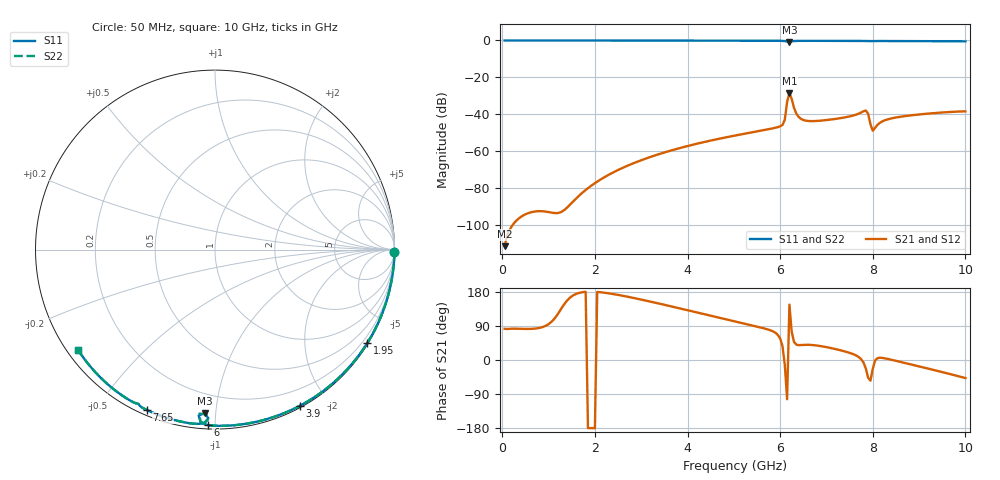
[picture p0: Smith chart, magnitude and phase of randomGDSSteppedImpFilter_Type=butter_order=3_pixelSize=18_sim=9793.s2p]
! freq	dB(S11)	phase(S11)	dB(S12)	phase(S12)
!  dB(S21)	phase(S21)	dB(S22)	phase(S22)
!S-par simulation data
#  GHz  S  DB  R 50
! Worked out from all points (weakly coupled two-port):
!   200 points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, 50 MHz to 10 GHz, reference 50 ohm
!   highest |S21| = -28.53 dB at 6.2 GHz (marker M1); lowest = -111.8 dB at 50 MHz (marker M2)
!   lowest |S11| = -0.8 dB at 6.2 GHz (marker M3), VSWR 21.87, Z = 4.29 - j46.7 ohm
!   |S11| at or under -10 dB: nowhere
!   |S22| runs from -0.7 to 0.0 dB; largest |S21 - S12| = 0
!   S11 on the Smith chart (normalised r, x): 50 MHz: open; 1.95 GHz: 0.03, -3.53; 3.9 GHz: 0.02, -1.68; 6 GHz: 0.02, -0.96; 7.65 GHz: 0.02, -0.66; 10 GHz: 0.03, -0.33
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0.05  -0.00 -0.8  -111.76 82.4  -111.76 82.4  -0.00 -0.8
1.75  -0.04 -28.5  -82.28 179.3  -82.28 179.3  -0.04 -28.5
1.95  -0.04 -31.6  -78.38 -179.7  -78.38 -179.7  -0.04 -31.6
2.55  -0.05 -41.1  -69.77 170.7  -69.77 170.7  -0.05 -41.1
3.4  -0.07 -54.1  -61.63 148.5  -61.63 148.5  -0.07 -54.1
3.9  -0.08 -61.6  -58.01 134.3  -58.01 134.3  -0.08 -61.6
5.05  -0.12 -78.3  -51.55 101.1  -51.55 101.1  -0.12 -78.3
6  -0.20 -92.4  -46.65 56.9  -46.65 56.9  -0.20 -92.5
6.05  -0.23 -93.5  -45.94 36.7  -45.94 36.7  -0.24 -93.5
6.1  -0.32 -94.8  -43.07 -12.3  -43.07 -12.3  -0.35 -94.9
6.15  -0.64 -95.6  -33.40 -103.5  -33.40 -103.5  -0.74 -95.4
6.2  -0.80 -93.6  -28.53 146.0  -28.53 146.0  -0.73 -92.8
6.3  -0.31 -93.4  -36.68 47.5  -36.68 47.5  -0.29 -93.5
6.4  -0.21 -95.5  -41.57 39.2  -41.57 39.2  -0.21 -95.6
6.7  -0.20 -100.2  -43.81 39.4  -43.81 39.4  -0.20 -100.2
7.65  -0.25 -113.0  -40.22 11.3  -40.22 11.3  -0.25 -113.1
7.85  -0.31 -115.9  -38.06 -22.5  -38.06 -22.5  -0.31 -115.9
7.9  -0.35 -116.3  -39.84 -46.8  -39.84 -46.8  -0.35 -116.4
8  -0.33 -117.3  -49.06 -23.3  -49.06 -23.3  -0.33 -117.3
8.15  -0.31 -119.2  -44.79 6.0  -44.79 6.0  -0.31 -119.3
8.35  -0.32 -121.9  -42.67 2.1  -42.67 2.1  -0.32 -121.9
10  -0.48 -143.7  -38.52 -47.7  -38.52 -47.7  -0.48 -143.7
